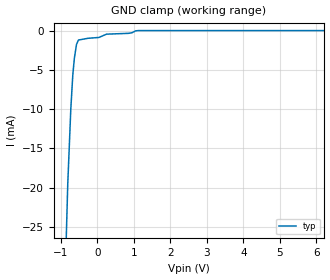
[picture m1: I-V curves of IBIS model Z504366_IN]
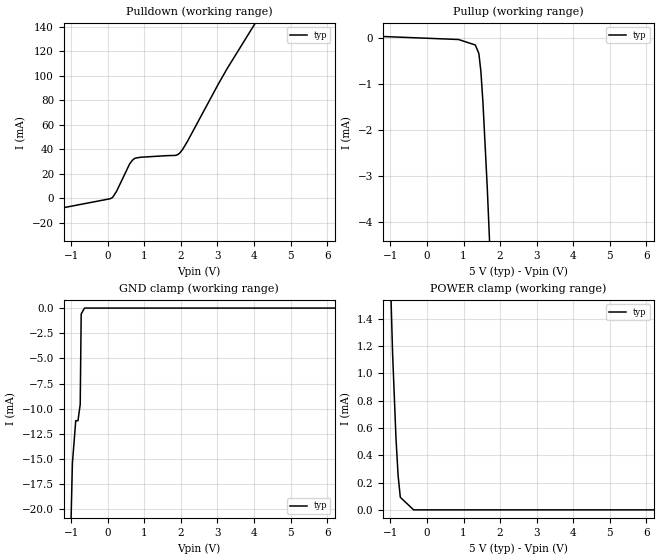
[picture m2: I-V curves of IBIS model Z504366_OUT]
| YOU ARE ONLY AUTHORIZED TO USE THIS SOFTWARE
| ACCORDING TO LICENSOR'S LICENSE RESTRICTIONS.
[IBIS Ver] 3.1
[File Name] sn54ls112aj.ibs
[File Rev] 2.0
[Source] Measured and created by ICX Technology
[Date] Friday 7/14/00 9:08:13 AM
[Copyright]
| (C) COPYRIGHT 1993-2000
| MENTOR GRAPHICS CORPORATION
| ICX STANDARD LIBRARY, ICX PROJECT MODELING,
| ICX CUSTOM MODELING, ICX VENDOR MODEL
| ALL RIGHTS RESERVED.
| THE FOLLOWING ARE TRADEMARKS OR SERVICE MARKS OF
| MENTOR GRAPHICS CORPORATION:ICX (R), ICX STANDARD
| LIBRARY(R), ICX PROJECT MODELING(R), ICX CUSTOM
| MODELING(R), qualityIBIS(TM), MODELVIEWER(TM),
| AND MODELEDITOR(TM)
| ALL COPIES OF SOFTWARE, INCLUDING BUT NOT LIMITED TO
| ANY MODIFICATIONS, ENHANCEMENTS OR DERIVATIVE WORKS,
| MUST CONTAIN ALL MENTOR GRAPHICS CORPORATION'S
| NOTICES AND LEGENDS, INCLUDING THOSE EMBEDDED IN
| SOFTWARE AND THOSE AFFIXED TO SOFTWARE MEDIUM
| AND CONTAINER, AS RECEIVED FROM MENTOR GRAPHICS
| CORPORATION.
|  ZAP Model Builder 2.7
[Component] SN54LS112AJ
[Manufacturer] OnSemiconductor
[Package]
| variable   typ   min   max
R_pkg  .212ohms NA NA
L_pkg  4.758nH NA NA
C_pkg  1.944pF NA NA
[Pin] signal_name  model_name  R_pin  L_pin C_pin
1 CLK Z504366_IN .224 7.258n 2.683p
2 K Z504366_IN .216 5.258n 2.19p
3 J Z504366_IN .208 3.758n 1.697p
4 _PRE Z504366_IN .2 2.758n 1.204p
5 Q Z504366_OUT .2 2.758n 1.204p
6 _Q Z504366_OUT .208 3.758n 1.697p
7 _Q Z504366_OUT .216 5.258n 2.19p
8 GND GND .224 7.258n 2.683p
9 Q Z504366_OUT .224 7.258n 2.683p
10 _PRE Z504366_IN .216 5.258n 2.19p
11 J Z504366_IN .208 3.758n 1.697p
12 K Z504366_IN .2 2.758n 1.204p
13 CLK Z504366_IN .2 2.758n 1.204p
14 _CLR Z504366_IN .208 3.758n 1.697p
15 _CLR Z504366_IN .216 5.258n 2.19p
16 VCC POWER .224 7.258n 2.683p
| Models and submodels in the file (2): Z504366_IN (Input), Z504366_OUT (Output)
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| (C) COPYRIGHT 1993-2000
| MENTOR GRAPHICS CORPORATION
| ICX STANDARD LIBRARY, ICX PROJECT MODELING,
| ICX CUSTOM MODELING, ICX VENDOR MODEL
| ALL RIGHTS RESERVED.
| THE FOLLOWING ARE TRADEMARKS OR SERVICE MARKS OF
| MENTOR GRAPHICS CORPORATION:ICX (R), ICX STANDARD
| LIBRARY(R), ICX PROJECT MODELING(R), ICX CUSTOM
| MODELING(R), qualityIBIS(TM), MODELVIEWER(TM),
| AND MODELEDITOR(TM)
| ALL COPIES OF SOFTWARE, INCLUDING BUT NOT LIMITED TO
| ANY MODIFICATIONS, ENHANCEMENTS OR DERIVATIVE WORKS,
| MUST CONTAIN ALL MENTOR GRAPHICS CORPORATION'S
| NOTICES AND LEGENDS, INCLUDING THOSE EMBEDDED IN
| SOFTWARE AND THOSE AFFIXED TO SOFTWARE MEDIUM
| AND CONTAINER, AS RECEIVED FROM MENTOR GRAPHICS
| CORPORATION.
| Model Application Version 1.89 2/18/99.
[Model] Z504366_IN
Model_type Input
Vinl = 800.0mV
Vinh = 2.000V
C_comp 4.000pF NA NA
| variable typ   min   max
[Voltage Range] 5.000V NA NA
[GND Clamp Reference] 0.000V NA NA
[POWER Clamp Reference] 5.000V NA NA
[GND Clamp]
-5V       -719.9mA   NA         NA
-810.5mV  -19.59mA   NA         NA
-727.1mV  -10.02mA   NA         NA
-672.8mV  -5.704mA   NA         NA
-630mV    -3.55mA    NA         NA
-571.5mV  -1.775mA   NA         NA
-517.8mV  -1.21mA    NA         NA
38.99mV   -881.7uA   NA         NA
253.8mV   -459.6uA   NA         NA
849.6mV   -356.3uA   NA         NA
1.123V    -4.215uA   NA         NA
10V       -4.215uA   NA         NA
[POWER Clamp]
-5V       0A         NA         NA
10V       0A         NA         NA
| (C) COPYRIGHT 1993-2000
| MENTOR GRAPHICS CORPORATION
| ICX STANDARD LIBRARY, ICX PROJECT MODELING,
| ICX CUSTOM MODELING, ICX VENDOR MODEL
| ALL RIGHTS RESERVED.
| THE FOLLOWING ARE TRADEMARKS OR SERVICE MARKS OF
| MENTOR GRAPHICS CORPORATION:ICX (R), ICX STANDARD
| LIBRARY(R), ICX PROJECT MODELING(R), ICX CUSTOM
| MODELING(R), qualityIBIS(TM), MODELVIEWER(TM),
| AND MODELEDITOR(TM)
| ALL COPIES OF SOFTWARE, INCLUDING BUT NOT LIMITED TO
| ANY MODIFICATIONS, ENHANCEMENTS OR DERIVATIVE WORKS,
| MUST CONTAIN ALL MENTOR GRAPHICS CORPORATION'S
| NOTICES AND LEGENDS, INCLUDING THOSE EMBEDDED IN
| SOFTWARE AND THOSE AFFIXED TO SOFTWARE MEDIUM
| AND CONTAINER, AS RECEIVED FROM MENTOR GRAPHICS
| CORPORATION.
| Model Application Version 1.89 2/18/99.
[Model] Z504366_OUT
Model_type Output
Vref=5.000V
Rref=2.000kohms
Cref=15.00pF
Vmeas=1.300V
C_comp 8.000pF NA NA
| variable typ   min   max
[Voltage Range] 5.000V NA NA
[POWER Clamp Reference] 5.000V NA NA
[Pullup Reference] 5.000V NA NA
[Pulldown Reference] 0.000V NA NA
[GND Clamp Reference] 0.000V NA NA
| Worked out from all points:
|   slope of the pulldown table from 0 to 0.75 V, typ, clamps not added: 22.4 ohm
|   slope of the pullup table from 0 to 0.75 V, typ, clamps not added: 31.5 kohm
|   GND clamp passes 1 mA (typ) near -0.73 V on its own axis
|   POWER clamp passes 1 mA (typ) near -0.92 V on its own axis
[GND Clamp]
-5V       -767.3mA   NA         NA
-1.169V   -46.3mA    NA         NA
-965.4mV  -15.42mA   NA         NA
-874.3mV  -11.19mA   NA         NA
-813.2mV  -11.19mA   NA         NA
-752mV    -9.566mA   NA         NA
-725.5mV  -588.3uA   NA         NA
-634.8mV  0A         NA         NA
10V       0A         NA         NA
[Pulldown]
-5V       -29.48mA   NA         NA
68.36mV   -385.3uA   NA         NA
131.8mV   619.1uA    NA         NA
242.9mV   5.759mA    NA         NA
596.9mV   27.97mA    NA         NA
733mV     32.49mA    NA         NA
908.2mV   33.55mA    NA         NA
1.846V    35.02mA    NA         NA
1.965V    36.84mA    NA         NA
2.174V    46.24mA    NA         NA
3.262V    105.9mA    NA         NA
10V       431.6mA    NA         NA
[Pullup]
-5V       145.6uA    NA         NA
864mV     -40.43uA   NA         NA
1.323V    -159.8uA   NA         NA
1.42V     -345.6uA   NA         NA
1.475V    -732.6uA   NA         NA
1.531V    -1.402mA   NA         NA
1.65V     -3.272mA   NA         NA
10V       -159.4mA   NA         NA
[POWER Clamp]
-5V       43.89mA    NA         NA
-1.084V   2.496mA    NA         NA
-937mV    1.137mA    NA         NA
-845mV    522.1uA    NA         NA
-788mV    252.6uA    NA         NA
-727mV    91.96uA    NA         NA
-363.5mV  0A         NA         NA
10V       0A         NA         NA
[Ramp]
| variable typ min max
dV/dt_r 1.861/11.18n NA NA
dV/dt_f 1.861/3.503n NA NA
R_load = 500.0Ohms
